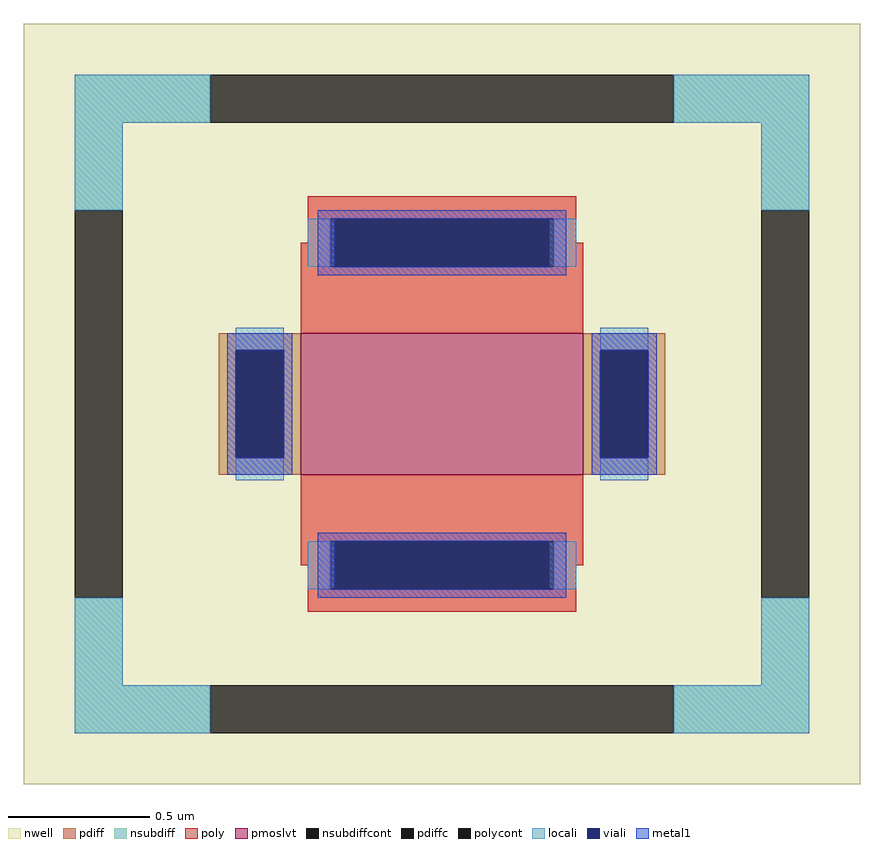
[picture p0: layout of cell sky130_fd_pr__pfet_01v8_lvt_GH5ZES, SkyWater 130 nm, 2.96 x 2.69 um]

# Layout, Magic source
magic
tech sky130A
magscale 1 2
<< nwell >>
rect -296 -269 296 269
<< pmoslvt >>
rect -100 -50 100 50
<< pdiff >>
rect -158 38 -100 50
rect -158 -38 -146 38
rect -112 -38 -100 38
rect -158 -50 -100 -38
rect 100 38 158 50
rect 100 -38 112 38
rect 146 -38 158 38
rect 100 -50 158 -38
<< pdiffc >>
rect -146 -38 -112 38
rect 112 -38 146 38
<< nsubdiff >>
rect -260 199 -164 233
rect 164 199 260 233
rect -260 137 -226 199
rect 226 137 260 199
rect -260 -199 -226 -137
rect 226 -199 260 -137
rect -260 -233 -164 -199
rect 164 -233 260 -199
<< nsubdiffcont >>
rect -164 199 164 233
rect -260 -137 -226 137
rect 226 -137 260 137
rect -164 -233 164 -199
<< poly >>
rect -95 131 95 147
rect -95 114 -79 131
rect -100 97 -79 114
rect 79 114 95 131
rect 79 97 100 114
rect -100 50 100 97
rect -100 -97 100 -50
rect -100 -114 -79 -97
rect -95 -131 -79 -114
rect 79 -114 100 -97
rect 79 -131 95 -114
rect -95 -147 95 -131
<< polycont >>
rect -79 97 79 131
rect -79 -131 79 -97
<< locali >>
rect -260 199 -164 233
rect 164 199 260 233
rect -260 137 -226 199
rect 226 137 260 199
rect -95 97 -79 131
rect 79 97 95 131
rect -146 38 -112 54
rect -146 -54 -112 -38
rect 112 38 146 54
rect 112 -54 146 -38
rect -95 -131 -79 -97
rect 79 -131 95 -97
rect -260 -199 -226 -137
rect 226 -199 260 -137
rect -260 -233 -164 -199
rect 164 -233 260 -199
<< viali >>
rect -76 97 76 131
rect -146 -38 -112 38
rect 112 -38 146 38
rect -76 -131 76 -97
<< metal1 >>
rect -88 131 88 137
rect -88 97 -76 131
rect 76 97 88 131
rect -88 91 88 97
rect -152 38 -106 50
rect -152 -38 -146 38
rect -112 -38 -106 38
rect -152 -50 -106 -38
rect 106 38 152 50
rect 106 -38 112 38
rect 146 -38 152 38
rect 106 -50 152 -38
rect -88 -97 88 -91
rect -88 -131 -76 -97
rect 76 -131 88 -97
rect -88 -137 88 -131
<< properties >>
string FIXED_BBOX -243 -216 243 216
string gencell sky130_fd_pr__pfet_01v8_lvt
string library sky130
string parameters w 0.5 l 1.0 m 1 nf 1 diffcov 100 polycov 94 guard 1 glc 1 grc 1 gtc 1 gbc 1 tbcov 100 rlcov 100 topc 1 botc 1 poverlap 0 doverlap 1 lmin 0.35 wmin 0.42 class mosfet compatible {sky130_fd_pr__pfet_01v8  sky130_fd_pr__pfet_01v8_lvt sky130_fd_pr__pfet_01v8_hvt  sky130_fd_pr__pfet_g5v0d10v5} full_metal 1 viasrc 100 viadrn 100 viagate 90 viagb 0 viagr 0 viagl 0 viagt 0
<< end >>
